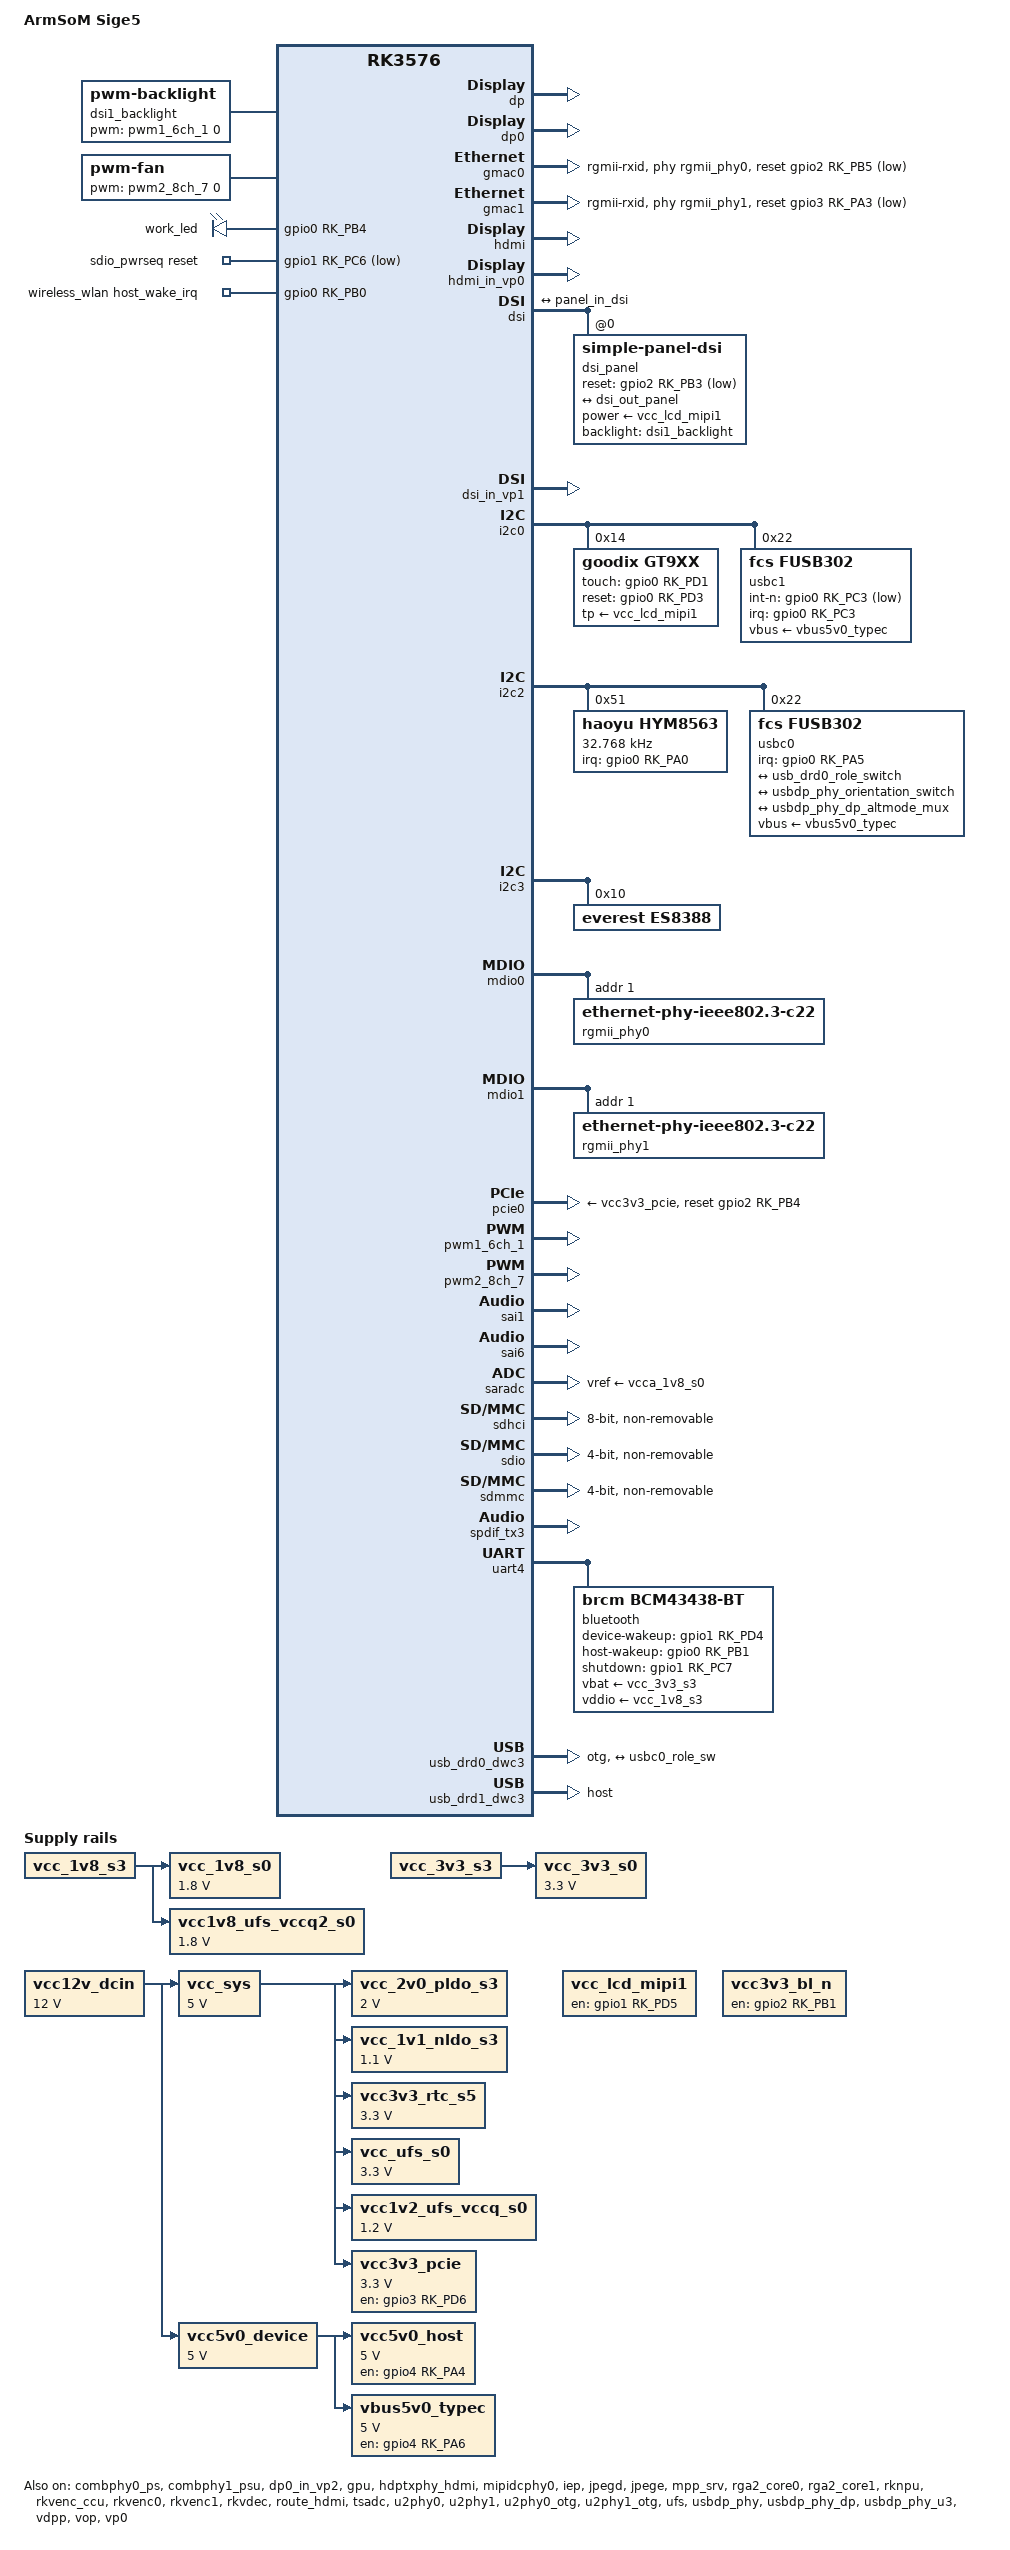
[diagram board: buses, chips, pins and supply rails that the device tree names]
// SPDX-License-Identifier: (GPL-2.0+ OR MIT)
/*
 * Copyright (c) 2024 Rockchip Electronics Co., Ltd.
 *
 */

/dts-v1/;

#include <dt-bindings/display/rockchip_vop.h>
#include <dt-bindings/display/drm_mipi_dsi.h>
#include <dt-bindings/gpio/gpio.h>
#include <dt-bindings/leds/common.h>
#include <dt-bindings/pinctrl/rockchip.h>
#include <dt-bindings/pwm/pwm.h>
#include <dt-bindings/usb/pd.h>
#include "rk3576.dtsi"
#include "rk3576-rk806.dtsi"
#include "rk3576-linux.dtsi"

/ {
	model = "ArmSoM Sige5";
	compatible = "armsom,sige5", "rockchip,rk3576";

	/delete-node/ chosen;

	dp0_sound: dp0-sound {
		compatible = "rockchip,hdmi";
		rockchip,mclk-fs = <512>;
		rockchip,card-name = "rockchip-dp0";
		rockchip,cpu = <&spdif_tx3>;
		rockchip,codec = <&dp0 1>;
		rockchip,jack-det;
	};

	es8388_sound: es8388-sound {
		status = "okay";
		compatible = "simple-audio-card";
		simple-audio-card,format = "i2s";
		simple-audio-card,mclk-fs = <256>;
		simple-audio-card,name = "rockchip,es8388-codec";
		simple-audio-card,dai-link@0 {
			format = "i2s";
			cpu {
				sound-dai = <&sai1>;
			};
			codec {
				sound-dai = <&es8388>;
			};
		};
	};

	dsi1_backlight: dsi1-backlight {
		status = "okay";
		compatible = "pwm-backlight";
		pwms = <&pwm1_6ch_1 0 25000 0>;
		brightness-levels = <
			  0  20  20  21  21  22  22  23
			 23  24  24  25  25  26  26  27
			 27  28  28  29  29  30  30  31
			 31  32  32  33  33  34  34  35
			 35  36  36  37  37  38  38  39
			 40  41  42  43  44  45  46  47
			 48  49  50  51  52  53  54  55
			 56  57  58  59  60  61  62  63
			 64  65  66  67  68  69  70  71
			 72  73  74  75  76  77  78  79
			 80  81  82  83  84  85  86  87
			 88  89  90  91  92  93  94  95
			 96  97  98  99 100 101 102 103
			104 105 106 107 108 109 110 111
			112 113 114 115 116 117 118 119
			120 121 122 123 124 125 126 127
			128 129 130 131 132 133 134 135
			136 137 138 139 140 141 142 143
			144 145 146 147 148 149 150 151
			152 153 154 155 156 157 158 159
			160 161 162 163 164 165 166 167
			168 169 170 171 172 173 174 175
			176 177 178 179 180 181 182 183
			184 185 186 187 188 189 190 191
			192 193 194 195 196 197 198 199
			200 201 202 203 204 205 206 207
			208 209 210 211 212 213 214 215
			216 217 218 219 220 221 222 223
			224 225 226 227 228 229 230 231
			232 233 234 235 236 237 238 239
			240 241 242 243 244 245 246 247
			248 249 250 251 252 253 254 255
		>;
		default-brightness-level = <200>;
	};

	fan: pwm-fan {
		compatible = "pwm-fan";
		#cooling-cells = <2>;
		pwms = <&pwm2_8ch_7 0 50000 0>;
		cooling-levels = <0 50 100 150 200 255>;
		rockchip,temp-trips = <
			50000	1
			55000	2
			60000	3
			65000	4
			70000	5
		>;
	};

	hdmi_sound: hdmi-sound {
		compatible = "rockchip,hdmi";
		rockchip,mclk-fs = <128>;
		rockchip,card-name = "rockchip-hdmi";
		rockchip,cpu = <&sai6>;
		rockchip,codec = <&hdmi>;
		rockchip,jack-det;
	};

	leds: leds {
		compatible = "gpio-leds";
		work_led: work {
			gpios = <&gpio0 RK_PB4 GPIO_ACTIVE_HIGH>;
			linux,default-trigger = "heartbeat";
		};
	};

	sdio_pwrseq: sdio-pwrseq {
		compatible = "mmc-pwrseq-simple";
		pinctrl-names = "default";
		pinctrl-0 = <&wifi_poweren_gpio>;

		/*
		 * On the module itself this is one of these (depending
		 * on the actual card populated):
		 * - SDIO_RESET_L_WL_REG_ON
		 * - PDN (power down when low)
		 */
		post-power-on-delay-ms = <200>;
		reset-gpios = <&gpio1 RK_PC6 GPIO_ACTIVE_LOW>;
	};

	vcc12v_dcin: vcc12v-dcin {
		compatible = "regulator-fixed";
		regulator-name = "vcc12v_dcin";
		regulator-always-on;
		regulator-boot-on;
		regulator-min-microvolt = <12000000>;
		regulator-max-microvolt = <12000000>;
	};

	vcc_sys: vcc5v0-sys {
		compatible = "regulator-fixed";
		regulator-name = "vcc_sys";
		regulator-always-on;
		regulator-boot-on;
		regulator-min-microvolt = <5000000>;
		regulator-max-microvolt = <5000000>;
		vin-supply = <&vcc12v_dcin>;
	};

	vcc5v0_device: vcc5v0-device {
		compatible = "regulator-fixed";
		regulator-name = "vcc5v0_device";
		regulator-always-on;
		regulator-boot-on;
		regulator-min-microvolt = <5000000>;
		regulator-max-microvolt = <5000000>;
		vin-supply = <&vcc12v_dcin>;
	};

	vcc_2v0_pldo_s3: vcc-2v0-pldo-s3 {
		compatible = "regulator-fixed";
		regulator-name = "vcc_2v0_pldo_s3";
		regulator-boot-on;
		regulator-always-on;
		regulator-min-microvolt = <2000000>;
		regulator-max-microvolt = <2000000>;
		vin-supply = <&vcc_sys>;
	};

	vcc_1v1_nldo_s3: vcc-1v1-nldo-s3 {
		compatible = "regulator-fixed";
		regulator-name = "vcc_1v1_nldo_s3";
		regulator-boot-on;
		regulator-always-on;
		regulator-min-microvolt = <1100000>;
		regulator-max-microvolt = <1100000>;
		vin-supply = <&vcc_sys>;
	};

	vcc3v3_rtc_s5: vcc3v3-rtc-s5 {
		compatible = "regulator-fixed";
		regulator-name = "vcc3v3_rtc_s5";
		regulator-boot-on;
		regulator-always-on;
		regulator-min-microvolt = <3300000>;
		regulator-max-microvolt = <3300000>;
		vin-supply = <&vcc_sys>;
	};
	vcc_1v8_s0: vcc-1v8-s0 {
		compatible = "regulator-fixed";
		regulator-name = "vcc_1v8_s0";
		regulator-boot-on;
		regulator-always-on;
		regulator-min-microvolt = <1800000>;
		regulator-max-microvolt = <1800000>;
		vin-supply = <&vcc_1v8_s3>;
	};

	vcc_3v3_s0: vcc-3v3-s0 {
		compatible = "regulator-fixed";
		regulator-name = "vcc_3v3_s0";
		regulator-boot-on;
		regulator-always-on;
		regulator-min-microvolt = <3300000>;
		regulator-max-microvolt = <3300000>;
		vin-supply = <&vcc_3v3_s3>;
	};

	vcc_ufs_s0: vcc-ufs-s0 {
		compatible = "regulator-fixed";
		regulator-name = "vcc_ufs_s0";
		regulator-boot-on;
		regulator-always-on;
		regulator-min-microvolt = <3300000>;
		regulator-max-microvolt = <3300000>;
		vin-supply = <&vcc_sys>;
	};

	vcc1v8_ufs_vccq2_s0: vcc1v8-ufs-vccq2-s0 {
		compatible = "regulator-fixed";
		regulator-name = "vcc1v8_ufs_vccq2_s0";
		regulator-boot-on;
		regulator-always-on;
		regulator-min-microvolt = <1800000>;
		regulator-max-microvolt = <1800000>;
		vin-supply = <&vcc_1v8_s3>;
	};

	vcc1v2_ufs_vccq_s0: vcc1v2-ufs-vccq-s0 {
		compatible = "regulator-fixed";
		regulator-name = "vcc1v2_ufs_vccq_s0";
		regulator-boot-on;
		regulator-always-on;
		regulator-min-microvolt = <1200000>;
		regulator-max-microvolt = <1200000>;
		vin-supply = <&vcc_sys>;
	};

	vcc3v3_pcie: gpio-regulator {
		compatible = "regulator-fixed";
		regulator-name = "vcc3v3_pcie";
		regulator-min-microvolt = <3300000>;
		regulator-max-microvolt = <3300000>;
		enable-active-high;
		gpio = <&gpio3 RK_PD6 GPIO_ACTIVE_HIGH>;
		startup-delay-us = <5000>;
		vin-supply = <&vcc_sys>;
	};

	vcc5v0_host: vcc5v0-host {
		compatible = "regulator-fixed";
		regulator-name = "vcc5v0_host";
		regulator-boot-on;
		regulator-always-on;
		regulator-min-microvolt = <5000000>;
		regulator-max-microvolt = <5000000>;
		enable-active-high;
		gpio = <&gpio4 RK_PA4 GPIO_ACTIVE_HIGH>;
		vin-supply = <&vcc5v0_device>;
		pinctrl-names = "default";
		pinctrl-0 = <&usb_host_pwren>;
	};

	vbus5v0_typec: vbus5v0-typec {
		compatible = "regulator-fixed";
		regulator-name = "vbus5v0_typec";
		regulator-min-microvolt = <5000000>;
		regulator-max-microvolt = <5000000>;
		enable-active-high;
		gpio = <&gpio4 RK_PA6 GPIO_ACTIVE_HIGH>;
		vin-supply = <&vcc5v0_device>;
		pinctrl-names = "default";
		pinctrl-0 = <&usb_otg0_pwren>;
	};

	vcc_lcd_mipi1: vcc-lcd-mipi1 { 
		status = "okay";
		compatible = "regulator-fixed";
		regulator-name = "vcc_lcd_mipi1";
		gpio = <&gpio1 RK_PD5 GPIO_ACTIVE_HIGH>;
		enable-active-high;
		regulator-boot-on;
		regulator-state-mem {
			regulator-off-in-suspend;
		};
	};

	vcc3v3_bl_n: vcc3v3-bl-n {
		compatible = "regulator-fixed";
		regulator-name = "vcc3v3_bl_n";
		regulator-boot-on;
		enable-active-high;
		pinctrl-names = "default";
		pinctrl-0 = <&dsi1_backlight_en>;
		gpio = <&gpio2 RK_PB1 GPIO_ACTIVE_HIGH>;
	};

	wireless_wlan: wireless-wlan {
		compatible = "wlan-platdata";
		wifi_chip_type = "rtl8852bs";
		clocks = <&hym8563>; //如果使用hym8563，只能配置一个
		clock-names = "ext_clock";
		pinctrl-names = "default";
		pinctrl-0 = <&wifi_host_wake_irq>;
		WIFI,host_wake_irq = <&gpio0 RK_PB0 GPIO_ACTIVE_HIGH>;
	};
};

&combphy0_ps {
	status = "okay";
};

&combphy1_psu {
	status = "okay";
};

&combphy0_ps {
	status = "okay";
};

&combphy1_psu {
	status = "okay";
};

&cpu_l0 {
	cpu-supply = <&vdd_cpu_lit_s0>;
};

&cpu_b0 {
	cpu-supply = <&vdd_cpu_big_s0>;
};

&display_subsystem {
	clocks = <&hdptxphy_hdmi>;
	clock-names = "hdmi0_phy_pll";
};

&dp {
	status = "okay";
};

&dp0 {
	status = "okay";
};

&dp0_in_vp2 {
	status = "okay";
};

&gmac0 {
	/* Use rgmii-rxid mode to disable rx delay inside Soc */
	phy-mode = "rgmii-rxid";
	clock_in_out = "output";

	snps,reset-gpio = <&gpio2 RK_PB5 GPIO_ACTIVE_LOW>;
	snps,reset-active-low;
	/* Reset time is 20ms, 100ms for rtl8211f */
	snps,reset-delays-us = <0 20000 100000>;

	pinctrl-names = "default";
	pinctrl-0 = <&eth0m0_miim
		     &eth0m0_tx_bus2
		     &eth0m0_rx_bus2
		     &eth0m0_rgmii_clk
		     &eth0m0_rgmii_bus
		     &ethm0_clk0_25m_out>;

	tx_delay = <0x21>;
	/* rx_delay = <0x3f>; */

	phy-handle = <&rgmii_phy0>;
	status = "okay";
};

&gmac1 {
	/* Use rgmii-rxid mode to disable rx delay inside Soc */
	phy-mode = "rgmii-rxid";
	clock_in_out = "output";

	snps,reset-gpio = <&gpio3 RK_PA3 GPIO_ACTIVE_LOW>;
	snps,reset-active-low;
	/* Reset time is 20ms, 100ms for rtl8211f */
	snps,reset-delays-us = <0 20000 100000>;

	pinctrl-names = "default";
	pinctrl-0 = <&eth1m0_miim
		     &eth1m0_tx_bus2
		     &eth1m0_rx_bus2
		     &eth1m0_rgmii_clk
		     &eth1m0_rgmii_bus
		     &ethm0_clk1_25m_out>;

	tx_delay = <0x20>;
	/* rx_delay = <0x3f>; */

	phy-handle = <&rgmii_phy1>;
	status = "okay";
};

&gpu {
	mali-supply = <&vdd_gpu_s0>;
	status = "okay";
};

&hdmi {
	status = "okay";
	enable-gpios = <&gpio2 RK_PB0 GPIO_ACTIVE_HIGH>;
	rockchip,sda-falling-delay-ns = <360>;
};

&hdmi_in_vp0 {
	status = "okay";
};

&hdptxphy_hdmi {
	status = "okay";
};

&dsi {
	status = "okay";
	rockchip,lane-rate = <1000>;
	dsi_panel: panel@0 {
		status = "okay";
		compatible = "simple-panel-dsi";
		reg = <0>;
		power-supply = <&vcc_lcd_mipi1>; 
		reset-gpios = <&gpio2 RK_PB3 GPIO_ACTIVE_LOW>;
		backlight = <&dsi1_backlight>;
		pinctrl-names = "default";
		pinctrl-0 = <&dsi1_lcd_rst_gpio>;
		reset-delay-ms = <10>;
		enable-delay-ms = <10>;
		prepare-delay-ms = <10>;
		unprepare-delay-ms = <10>;
		disable-delay-ms = <10>;
		dsi,flags = <(MIPI_DSI_MODE_VIDEO | MIPI_DSI_MODE_VIDEO_BURST |
			MIPI_DSI_MODE_LPM | MIPI_DSI_MODE_EOT_PACKET)>;
		dsi,format = <MIPI_DSI_FMT_RGB888>;
		dsi,lanes  = <4>;
		panel-init-sequence = [
			15 00 02 B0 01
			15 00 02 C0 26
			15 00 02 C1 10
			15 00 02 C2 0E
			15 00 02 C3 00
			15 00 02 C4 00
			15 00 02 C5 23
			15 00 02 C6 11
			15 00 02 C7 22
			15 00 02 C8 20
			15 00 02 C9 1E
			15 00 02 CA 1C
			15 00 02 CB 0C
			15 00 02 CC 0A
			15 00 02 CD 08
			15 00 02 CE 06
			15 00 02 CF 18
			15 00 02 D0 02
			15 00 02 D1 00
			15 00 02 D2 00
			15 00 02 D3 00
			15 00 02 D4 26
			15 00 02 D5 0F
			15 00 02 D6 0D
			15 00 02 D7 00
			15 00 02 D8 00
			15 00 02 D9 23
			15 00 02 DA 11
			15 00 02 DB 21
			15 00 02 DC 1F
			15 00 02 DD 1D
			15 00 02 DE 1B
			15 00 02 DF 0B
			15 00 02 E0 09
			15 00 02 E1 07
			15 00 02 E2 05
			15 00 02 E3 17
			15 00 02 E4 01
			15 00 02 E5 00
			15 00 02 E6 00
			15 00 02 E7 00
			15 00 02 B0 03
			15 00 02 BE 04
			15 00 02 B9 40
			15 00 02 CC 88
			15 00 02 C8 0C
			15 00 02 C9 07
			15 00 02 CD 01
			15 00 02 CA 40
			15 00 02 CE 1A
			15 00 02 CF 60
			15 00 02 D2 08
			15 00 02 D3 08
			15 00 02 DB 01
			15 00 02 D9 06
			15 00 02 D4 00
			15 00 02 D5 01
			15 00 02 D6 04
			15 00 02 D7 03
			15 00 02 C2 00
			15 00 02 C3 0E
			15 00 02 C4 00
			15 00 02 C5 0E
			15 00 02 DD 00
			15 00 02 DE 0E
			15 00 02 E6 00
			15 00 02 E7 0E
			15 00 02 C2 00
			15 00 02 C3 0E
			15 00 02 C4 00
			15 00 02 C5 0E
			15 00 02 DD 00
			15 00 02 DE 0E
			15 00 02 E6 00
			15 00 02 E7 0E
			15 00 02 B0 06
			15 00 02 C0 A5
			15 00 02 D5 1C
			15 00 02 C0 00
			15 00 02 B0 00
			15 00 02 BD 30

			15 00 02 F9 5C
			15 00 02 C2 14
			15 00 02 C4 14
			15 00 02 BF 15
			15 00 02 C0 0C


			15 00 02 B0 00
			15 00 02 B1 79
			15 00 02 BA 8F

			05 78 01 11
			05 78 01 29
		];

		panel-exit-sequence = [
			05 32 01 28
			05 78 01 10
		];

		disp_timings0: display-timings {
			native-mode = <&dsi1_timing0>;
			dsi1_timing0: timing0 {
				clock-frequency = <160000000>;
				hactive = <1200>;
				vactive = <1920>;
				hfront-porch = <80>;
				hsync-len = <1>;
				hback-porch = <60>;
				vfront-porch = <35>;
				vsync-len = <1>;
				vback-porch = <25>;
				hsync-active = <0>;
				vsync-active = <0>;
				de-active = <0>;
				pixelclk-active = <1>;
			};
		};
		ports {
			#address-cells = <1>;
			#size-cells = <0>;

			port@0 {
				reg = <0>;
				panel_in_dsi: endpoint {
					remote-endpoint = <&dsi_out_panel>;
				};
			};
		};
	};
	ports {
		#address-cells = <1>;
		#size-cells = <0>;

		port@1 {
			reg = <1>;
			dsi_out_panel: endpoint {
				remote-endpoint = <&panel_in_dsi>;
			};
		};
	};
};

&mipidcphy0 {
	status = "okay";
};

&route_dsi {
	status = "disabled";
};

&dsi_in_vp1 {
	status = "okay";
};

&vp1 {
	assigned-clocks = <&cru DCLK_VP1_SRC>;
	assigned-clock-parents = <&cru PLL_VPLL>;
};

&i2c0 {
	status = "okay";
	pinctrl-0 = <&i2c0m1_xfer>;
	gt9xx: gt9xx@14 {          
		status = "okay";
		compatible = "goodix,gt9xx";
		reg = <0x14>;
		pinctrl-names = "default";
		pinctrl-0 = <&gt9xx_gpio>;
		touch-gpio = <&gpio0 RK_PD1 IRQ_TYPE_LEVEL_HIGH>;
		reset-gpio = <&gpio0 RK_PD3 GPIO_ACTIVE_HIGH>;
		max-x = <1200>;
		max-y = <1920>;
		tp-size = <89>;  
		tp-supply = <&vcc_lcd_mipi1>;

		configfile-num = <1>;   
	};

	usbc1: fusb302@22 {
		compatible = "fcs,fusb302";
		reg = <0x22>;
		interrupt-parent = <&gpio0>;
		interrupts = <RK_PC3 IRQ_TYPE_LEVEL_LOW>;
		int-n-gpios = <&gpio0 RK_PC3 GPIO_ACTIVE_LOW>;
		pinctrl-names = "default";
		pinctrl-0 = <&usbc1_int>;
		vbus-supply = <&vbus5v0_typec>;
		status = "okay";
		usb_con1: connector {
			compatible = "usb-c-connector";
			label = "USB-C";
			data-role = "dual";
			power-role = "dual";
			try-power-role = "sink";
			op-sink-microwatt = <1000000>;
			sink-pdos =
				<PDO_FIXED(5000, 3000, PDO_FIXED_USB_COMM)
				 PDO_FIXED(9000, 3000, PDO_FIXED_USB_COMM)
				 PDO_FIXED(12000, 3000, PDO_FIXED_USB_COMM)>;
			source-pdos =
				<PDO_FIXED(5000, 3000, PDO_FIXED_USB_COMM)>;
			altmodes {
				#address-cells = <1>;
				#size-cells = <0>;
				altmode@0 {
					reg = <0>;
					svid = <0xff01>;
					vdo = <0xffffffff>;
				};
			};
		};
	};
};

&i2c2 {
	status = "okay";

	hym8563: hym8563@51 {
		compatible = "haoyu,hym8563";
		reg = <0x51>;
		#clock-cells = <0>;
		clock-frequency = <32768>;
		clock-output-names = "hym8563";
		pinctrl-names = "default";
		pinctrl-0 = <&hym8563_int>;
		interrupt-parent = <&gpio0>;
		interrupts = <RK_PA0 IRQ_TYPE_LEVEL_LOW>;
		wakeup-source;
	};

	usbc0: fusb302@22 {
		compatible = "fcs,fusb302";
		reg = <0x22>;
		interrupt-parent = <&gpio0>;
		interrupts = <RK_PA5 IRQ_TYPE_LEVEL_LOW>;
		pinctrl-names = "default";
		pinctrl-0 = <&usbc0_int>;
		vbus-supply = <&vbus5v0_typec>;

		port {
			usbc0_role_sw: endpoint {
				remote-endpoint = <&usb_drd0_role_switch>;
			};
		};

		usb_con: connector {
			compatible = "usb-c-connector";
			label = "USB-C";
			data-role = "dual";
			power-role = "dual";
			try-power-role = "sink";
			op-sink-microwatt = <1000000>;
			sink-pdos =
				<PDO_FIXED(5000, 1000, PDO_FIXED_USB_COMM)>;
			source-pdos =
				<PDO_FIXED(5000, 3000, PDO_FIXED_USB_COMM)>;

			altmodes {
				#address-cells = <1>;
				#size-cells = <0>;

				altmode@0 {
					reg = <0>;
					svid = <0xff01>;
					vdo = <0xffffffff>;
				};
			};

			ports {
				#address-cells = <1>;
				#size-cells = <0>;

				port@0 {
					reg = <0>;
					usbc0_orien_sw: endpoint {
						remote-endpoint = <&usbdp_phy_orientation_switch>;
					};
				};

				port@1 {
					reg = <1>;
					dp_altmode_mux: endpoint {
						remote-endpoint = <&usbdp_phy_dp_altmode_mux>;
					};
				};
			};
		};
	};
};

&i2c3 {
	status = "okay";
	es8388: es8388@10 {
		status = "okay";
		#sound-dai-cells = <0>;
		compatible = "everest,es8388", "everest,es8323";
		reg = <0x10>;
		clocks = <&mclkout_sai1>;
		clock-names = "mclk";
		assigned-clocks = <&mclkout_sai1>;
		assigned-clock-rates = <12288000>;
		pinctrl-names = "default";
		pinctrl-0 = <&sai1m0_mclk>;
	};
};

&iep {
	status = "okay";
};

&iep_mmu {
	status = "okay";
};

&jpegd {
	status = "okay";
};

&jpege {
	status = "okay";
};

&jpeg_mmu {
	status = "okay";
};

&mdio0 {
	rgmii_phy0: phy@1 {
		compatible = "ethernet-phy-ieee802.3-c22";
		reg = <0x1>;
		clocks = <&cru REFCLKO25M_GMAC0_OUT>;
	};
};

&mdio1 {
	rgmii_phy1: phy@1 {
		compatible = "ethernet-phy-ieee802.3-c22";
		reg = <0x1>;
		clocks = <&cru REFCLKO25M_GMAC1_OUT>;
	};
};

&mpp_srv {
	status = "okay";
};

&pcie0 {
	reset-gpios = <&gpio2 RK_PB4 GPIO_ACTIVE_HIGH>;
	vpcie3v3-supply = <&vcc3v3_pcie>;
	status = "okay";
};

&pinctrl {
	bt {
		bt_enable: bt-enable {
			rockchip,pins = <1 RK_PC7 RK_FUNC_GPIO &pcfg_pull_none>;
		};

		bt_host_wake: bt-host-wake {
			rockchip,pins = <0 RK_PB1 RK_FUNC_GPIO &pcfg_pull_down>;
		};

		bt_wake: bt-wake {
			rockchip,pins = <1 RK_PD4 RK_FUNC_GPIO &pcfg_pull_none>;
		};
	};

	headphone {
		hp_det: hp-det {
			rockchip,pins = <0 RK_PD3 RK_FUNC_GPIO &pcfg_pull_up>;
		};
	};

	hym8563 {
		hym8563_int: hym8563-int {
			rockchip,pins = <0 RK_PA0 RK_FUNC_GPIO &pcfg_pull_up>;
		};
	};

	leds {
		led_rgb_r: led-red-en {
			rockchip,pins = <4 RK_PB1 RK_FUNC_GPIO &pcfg_pull_none>;
		};
		led_rgb_g: led-green-en {
			rockchip,pins = <4 RK_PB2 RK_FUNC_GPIO &pcfg_pull_none>;
		};
	};

	usb {
		usb_host_pwren: usb-host-pwren {
			rockchip,pins = <4 RK_PA4 RK_FUNC_GPIO &pcfg_pull_none>;
		};

		usb_otg0_pwren: usb-otg0-pwren {
			rockchip,pins = <4 RK_PA6 RK_FUNC_GPIO &pcfg_pull_none>;
		};

		usbc0_int: usbc0-int {
			rockchip,pins = <0 RK_PA5 RK_FUNC_GPIO &pcfg_pull_up>;
		};

		usbc1_int: usbc1-int {
			rockchip,pins = <0 RK_PC3 RK_FUNC_GPIO &pcfg_pull_up>;
		};
	};

	wireless-wlan {
		wifi_host_wake_irq: wifi-host-wake-irq {
			rockchip,pins = <0 RK_PB0 RK_FUNC_GPIO &pcfg_pull_down>;
		};

		wifi_poweren_gpio: wifi-poweren-gpio {
			rockchip,pins = <1 RK_PC6 RK_FUNC_GPIO &pcfg_pull_none>;
		};
	};

	dsi1-lcd {
		dsi1_lcd_rst_gpio: dsi1-lcd-rst-gpio {
			rockchip,pins =
				<2 RK_PB3 RK_FUNC_GPIO &pcfg_pull_up>;
		};

		dsi1_backlight_en: dsi1-backlight-en {
			rockchip,pins =
				<2 RK_PB1 RK_FUNC_GPIO &pcfg_pull_none>;
		};
	};

	gt9xx {
		gt9xx_gpio: gt9xx-gpio {
			rockchip,pins =
				<0 RK_PD1 RK_FUNC_GPIO &pcfg_pull_none>,
				<0 RK_PD3 RK_FUNC_GPIO &pcfg_pull_up>;
		};
	};
};

&pwm1_6ch_1 {
	status = "okay";
	pinctrl-0 = <&pwm1m0_ch1>;
};

&pwm2_8ch_7 {
	status = "okay";
	pinctrl-0 = <&pwm2m3_ch7>;
};

&rga2_core0 {
	status = "okay";
};

&rga2_core0_mmu {
	status = "okay";
};

&rga2_core1 {
	status = "okay";
};

&rga2_core1_mmu {
	status = "okay";
};

&rknpu {
	rknpu-supply = <&vdd_npu_s0>;
	status = "okay";
};

&rknpu_mmu {
	status = "okay";
};

&rkvenc_ccu {
	status = "okay";
};

&rkvenc0 {
	status = "okay";
};

&rkvenc0_mmu {
	status = "okay";
};

&rkvenc1 {
	status = "okay";
};

&rkvenc1_mmu {
	status = "okay";

};

&rkvdec {
	status = "okay";
};

&rkvdec_mmu {
	status = "okay";
};

&rockchip_suspend {
	status = "okay";
	rockchip,sleep-debug-en = <1>;

	rockchip,sleep-io-ret-config = <
		(0
		| RKPM_VCCIO3_RET_EN
		)
	>;
};

&route_hdmi {
	status = "okay";
	connect = <&vp0_out_hdmi>;
};

&sai1 {
	status = "okay";
	pinctrl-names = "default";
	pinctrl-0 = <&sai1m0_lrck
		     &sai1m0_sclk
		     &sai1m0_sdi0
		     &sai1m0_sdo0>;
};

&sai6 {
	status = "okay";
};

&saradc {
	status = "okay";
	vref-supply = <&vcca_1v8_s0>;
};

&sdhci {
	bus-width = <8>;
	no-sdio;
	no-sd;
	non-removable;
	max-frequency = <200000000>;
	mmc-hs400-1_8v;
	mmc-hs400-enhanced-strobe;
	full-pwr-cycle-in-suspend;
	status = "okay";
};

&sdio {
	max-frequency = <150000000>;
	no-sd;
	no-mmc;
	bus-width = <4>;
	disable-wp;
	cap-sd-highspeed;
	cap-sdio-irq;
	keep-power-in-suspend;
	mmc-pwrseq = <&sdio_pwrseq>;
	non-removable;
	pinctrl-names = "default";
	pinctrl-0 = <&sdmmc1m0_bus4 &sdmmc1m0_clk &sdmmc1m0_cmd>;
	sd-uhs-sdr50;
	sd-uhs-sdr104;
	status = "okay";
};

&sdmmc {
	max-frequency = <200000000>;
	no-sdio;
	no-mmc;
	bus-width = <4>;
	cap-mmc-highspeed;
	cap-sd-highspeed;
	disable-wp;
	non-removable;
	sd-uhs-sdr104;
	vqmmc-supply = <&vccio_sd_s0>;
	status = "okay";
};

&spdif_tx3 {
	status = "okay";
};

&tsadc {
	status = "okay";
};

&u2phy0 {
	status = "okay";
};

&u2phy1 {
	status = "okay";
};

&u2phy0_otg {
	rockchip,typec-vbus-det;
	status = "okay";
};

&u2phy1_otg {
	phy-supply = <&vcc5v0_host>;
	status = "okay";
};

&uart4 {
	status = "okay";
	pinctrl-names = "default";
	pinctrl-0 = <&uart4m1_xfer &uart4m1_ctsn &uart4m1_rtsn>;
	uart-has-rtscts;
	bluetooth {
		compatible = "brcm,bcm43438-bt";
		device-wakeup-gpios = <&gpio1 RK_PD4 0>;
		host-wakeup-gpios = <&gpio0 RK_PB1 0>;
		shutdown-gpios = <&gpio1 RK_PC7 0>;
		pinctrl-names = "default";
		pinctrl-0 = <&bt_host_wake &bt_wake &bt_enable>;
		vbat-supply = <&vcc_3v3_s3>;
		vddio-supply = <&vcc_1v8_s3>;
	};
};

&ufs {
	reset-gpios = <&gpio4 RK_PD0 GPIO_ACTIVE_HIGH>;
	status = "okay";
};

&usbdp_phy {
	orientation-switch;
	svid = <0xff01>;
	sbu1-dc-gpios = <&gpio2 RK_PA6 GPIO_ACTIVE_HIGH>;
	sbu2-dc-gpios = <&gpio2 RK_PA7 GPIO_ACTIVE_HIGH>;
	status = "okay";

	port {
		#address-cells = <1>;
		#size-cells = <0>;

		usbdp_phy_orientation_switch: endpoint@0 {
			reg = <0>;
			remote-endpoint = <&usbc0_orien_sw>;
		};

		usbdp_phy_dp_altmode_mux: endpoint@1 {
			reg = <1>;
			remote-endpoint = <&dp_altmode_mux>;
		};
	};
};

&usbdp_phy_dp {
	status = "okay";
};

&usbdp_phy_u3 {
	status = "okay";
};

&usb_drd0_dwc3 {
	dr_mode = "otg";
	usb-role-switch;
	status = "okay";
	port {
		usb_drd0_role_switch: endpoint {
			remote-endpoint = <&usbc0_role_sw>;
		};
	};
};

&usb_drd1_dwc3 {
	dr_mode = "host";
	status = "okay";
};

&vdpp {
	status = "okay";
};

&vop {
	status = "okay";
	/* vop-supply = <&vdd_logic_s0>; */
};

&vop_mmu {
	status = "okay";
};

&vp0 {
	status = "okay";
};

&vp2 {
	assigned-clocks = <&cru DCLK_VP2_SRC>;
	assigned-clock-parents = <&cru PLL_VPLL>;
};
